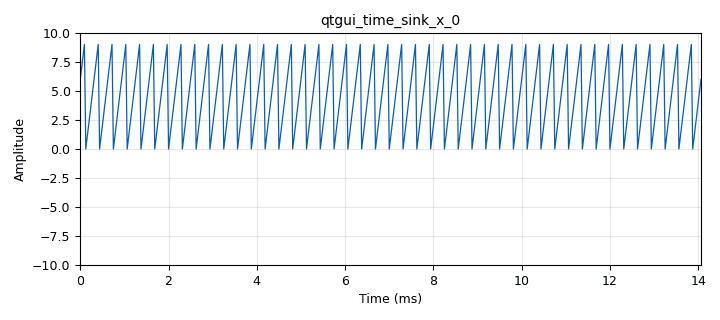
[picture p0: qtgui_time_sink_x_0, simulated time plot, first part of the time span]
options:
  parameters:
    author: Homero Ortega Boada
    generate_options: qt_gui
    id: antennas_array_gnuradio_demo
    output_language: python
    title: antennas_array_gnuradio_demo
  states: {}

blocks:
- name: Dz
  id: variable
  parameters:
    value: '0.5'
  states: {}
- name: N
  id: variable
  parameters:
    value: '4'
  states: {}
- name: Resol_angular_gr
  id: variable
  parameters:
    value: '0.25'
  states: {}
- name: Rmax
  id: variable
  parameters:
    value: '6'
  states: {}
- name: Rs
  id: variable
  parameters:
    value: '4000'
  states: {}
- name: Sps
  id: variable
  parameters:
    value: '8'
  states: {}
- name: phi_i_gr
  id: variable_qtgui_range
  parameters:
    gui_hint: 1,0,1,1
    label: phi_i_gr
    start: '0'
    step: Resol_angular_gr
    stop: '36000'
    value: '0'
  states: {}
- name: samp_rate
  id: variable
  parameters:
    value: Rs*Sps
  states: {}
- name: theta
  id: variable
  parameters:
    value: np.linspace(0,9,10)
  states: {}
- name: theta_i_gr
  id: variable_qtgui_range
  parameters:
    gui_hint: 0,0,1,1
    label: theta_i_gr
    start: '0'
    step: Resol_angular_gr
    stop: '36000'
    value: '0'
  states: {}
- name: w
  id: variable
  parameters:
    value: '[1,1,1,1]'
  states: {}
- name: blocks_vector_source_x_0
  id: blocks_vector_source_x
  parameters:
    repeat: 'True'
    type: float
    vector: theta
  states: {}
- name: import_0
  id: import
  parameters:
    imports: import numpy as np
  states: {}
- name: qtgui_time_sink_x_0
  id: qtgui_time_sink_x
  parameters:
    gui_hint: 2,1,1,1
    size: '1024'
    srate: samp_rate
    type: float
    ymax: '10'
    ymin: '-10'
  states: {}

connections:
- [blocks_vector_source_x_0, '0', qtgui_time_sink_x_0, '0']

metadata:
  file_format: 1
